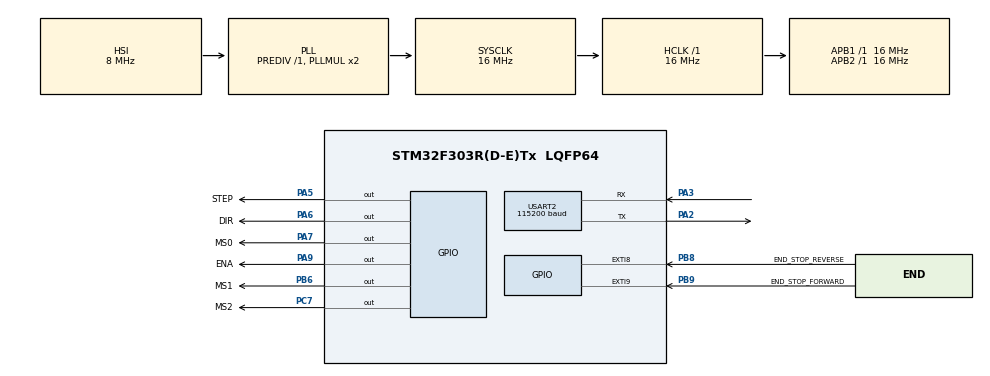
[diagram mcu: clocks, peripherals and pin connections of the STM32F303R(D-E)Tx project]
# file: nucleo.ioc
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Mcu.Family=STM32F3
Mcu.Name=STM32F303R(D-E)Tx
Mcu.Package=LQFP64
NVIC.EXTI9_5_IRQn=true\:0\:0\:false\:false\:true\:true
NVIC.PriorityGroup=NVIC_PRIORITYGROUP_4
NVIC.USART2_IRQn=true\:0\:0\:false\:false\:true\:true
PA2.Mode=Asynchronous
PA2.Signal=USART2_TX
PA3.Mode=Asynchronous
PA3.Signal=USART2_RX
PA5.GPIO_Label=STEP
PA5.Signal=GPIO_Output
PA6.GPIO_Label=DIR
PA6.Signal=GPIO_Output
PA7.GPIO_Label=MS0
PA7.Signal=GPIO_Output
PA9.GPIO_Label=ENA
PA9.Signal=GPIO_Output
PB6.GPIO_Label=MS1
PB6.Signal=GPIO_Output
PB8.GPIO_Label=END_STOP_REVERSE
PB8.GPIO_ModeDefaultEXTI=GPIO_MODE_IT_RISING
PB8.GPIO_PuPd=GPIO_PULLUP
PB8.Signal=GPXTI8
PB9.GPIO_Label=END_STOP_FORWARD
PB9.GPIO_ModeDefaultEXTI=GPIO_MODE_IT_RISING
PB9.GPIO_PuPd=GPIO_PULLUP
PB9.Signal=GPXTI9
PC7.GPIO_Label=MS2
PC7.Signal=GPIO_Output
ProjectManager.HeapSize=0x200
ProjectManager.StackSize=0x400
ProjectManager.TargetToolchain=Makefile
RCC.AHBFreq_Value=16000000
RCC.APB1Freq_Value=16000000
RCC.APB1TimFreq_Value=16000000
RCC.APB2Freq_Value=16000000
RCC.APB2TimFreq_Value=16000000
RCC.CortexFreq_Value=16000000
RCC.HCLKFreq_Value=16000000
RCC.HSE_VALUE=8000000
RCC.HSI_VALUE=8000000
RCC.LSE_VALUE=32768
RCC.SYSCLKFreq_VALUE=16000000
RCC.SYSCLKSourceVirtual=RCC_SYSCLKSOURCE_PLLCLK
RCC.USBFreq_Value=16000000
USART2.BaudRate=115200
USART2.VirtualMode-Asynchronous=VM_ASYNC
USART2.WordLength=WORDLENGTH_8B
board=nucleo

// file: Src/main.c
/**
 ******************************************************************************
 * @file           : main.c
 * @brief          : Main program body
 ******************************************************************************
 ** This notice applies to any and all portions of this file
 * that are not between comment pairs USER CODE BEGIN and
 * USER CODE END. Other portions of this file, whether
 * inserted by the user or by software development tools
 * are owned by their respective copyright owners.
 *
 * COPYRIGHT(c) 2018 STMicroelectronics
 *
 * Redistribution and use in source and binary forms, with or without modification,
 * are permitted provided that the following conditions are met:
 *   1. Redistributions of source code must retain the above copyright notice,
 *      this list of conditions and the following disclaimer.
 *   2. Redistributions in binary form must reproduce the above copyright notice,
 *      this list of conditions and the following disclaimer in the documentation
 *      and/or other materials provided with the distribution.
 *   3. Neither the name of STMicroelectronics nor the names of its contributors
 *      may be used to endorse or promote products derived from this software
 *      without specific prior written permission.
 *
 * THIS SOFTWARE IS PROVIDED BY THE COPYRIGHT HOLDERS AND CONTRIBUTORS "AS IS"
 * AND ANY EXPRESS OR IMPLIED WARRANTIES, INCLUDING, BUT NOT LIMITED TO, THE
 * IMPLIED WARRANTIES OF MERCHANTABILITY AND FITNESS FOR A PARTICULAR PURPOSE ARE
 * DISCLAIMED. IN NO EVENT SHALL THE COPYRIGHT HOLDER OR CONTRIBUTORS BE LIABLE
 * FOR ANY DIRECT, INDIRECT, INCIDENTAL, SPECIAL, EXEMPLARY, OR CONSEQUENTIAL
 * DAMAGES (INCLUDING, BUT NOT LIMITED TO, PROCUREMENT OF SUBSTITUTE GOODS OR
 * SERVICES; LOSS OF USE, DATA, OR PROFITS; OR BUSINESS INTERRUPTION) HOWEVER
 * CAUSED AND ON ANY THEORY OF LIABILITY, WHETHER IN CONTRACT, STRICT LIABILITY,
 * OR TORT (INCLUDING NEGLIGENCE OR OTHERWISE) ARISING IN ANY WAY OUT OF THE USE
 * OF THIS SOFTWARE, EVEN IF ADVISED OF THE POSSIBILITY OF SUCH DAMAGE.
 *
 ******************************************************************************
 */
#include "main.h"
#include "stm32f3xx_hal.h"

/* USER CODE BEGIN Includes */
#include "globals.hpp"
/* USER CODE END Includes */

UART_HandleTypeDef huart2;

/* USER CODE BEGIN PV */
/* Private variables ---------------------------------------------------------*/

/* USER CODE END PV */

void SystemClock_Config(void);
static void MX_GPIO_Init(void);
static void MX_USART2_UART_Init(void);

/* USER CODE BEGIN PFP */
/* Private function prototypes -----------------------------------------------*/

/* USER CODE END PFP */

int main(void)
{

    /* MCU Configuration----------------------------------------------------------*/

    /* Reset of all peripherals, Initializes the Flash interface and the Systick. */
    HAL_Init();

    /* Configure the system clock */
    SystemClock_Config();

    /* Initialize all configured peripherals */
    MX_GPIO_Init();
    MX_USART2_UART_Init();
    /* USER CODE BEGIN 2 */

    Uart uart(&huart2);
    monochromator.uart = &uart;
    monochromator.uart->print("Ahoj\n");
    monochromator.uart->receive_it();

    Motor motor(1.8, 32);
    monochromator.motor = &motor;
    monochromator.end_stop_forward = END_STOP_FORWARD_Pin;
    monochromator.end_stop_reverse = END_STOP_REVERSE_Pin;
    monochromator.motor->dir(DIRECTION_REVERSE);

    monochromator.uart->print("init ok\n");

    /* USER CODE END 2 */

    /* Infinite loop */
    /* USER CODE BEGIN WHILE */
    while (1)
    {
        if (monochromator.uart->get_rx_flag())
        {
            monochromator.uart->print("Mam data: ");
            monochromator.uart->send_byte(monochromator.uart->rx_buffer[0]);
            monochromator.uart->print("\n");
            monochromator.uart->clear_rx_flag();
            monochromator.motor->execute_steps(10000);
        }

        /* USER CODE END WHILE */

    }
} /* main */

void SystemClock_Config(void)
{
    RCC_OscInitTypeDef RCC_OscInitStruct;
    RCC_ClkInitTypeDef RCC_ClkInitStruct;
    RCC_PeriphCLKInitTypeDef PeriphClkInit;

    /**Initializes the CPU, AHB and APB busses clocks
     */
    RCC_OscInitStruct.OscillatorType      = RCC_OSCILLATORTYPE_HSI;
    RCC_OscInitStruct.HSIState            = RCC_HSI_ON;
    RCC_OscInitStruct.HSICalibrationValue = 16;
    RCC_OscInitStruct.PLL.PLLState        = RCC_PLL_ON;
    RCC_OscInitStruct.PLL.PLLSource       = RCC_PLLSOURCE_HSI;
    RCC_OscInitStruct.PLL.PLLMUL          = RCC_PLL_MUL2;
    RCC_OscInitStruct.PLL.PREDIV          = RCC_PREDIV_DIV1;
    if (HAL_RCC_OscConfig(&RCC_OscInitStruct) != HAL_OK)
    {
        _Error_Handler(__FILE__, __LINE__);
    }

    /**Initializes the CPU, AHB and APB busses clocks
     */
    RCC_ClkInitStruct.ClockType = RCC_CLOCKTYPE_HCLK | RCC_CLOCKTYPE_SYSCLK
      | RCC_CLOCKTYPE_PCLK1 | RCC_CLOCKTYPE_PCLK2;
    RCC_ClkInitStruct.SYSCLKSource   = RCC_SYSCLKSOURCE_PLLCLK;
    RCC_ClkInitStruct.AHBCLKDivider  = RCC_SYSCLK_DIV1;
    RCC_ClkInitStruct.APB1CLKDivider = RCC_HCLK_DIV1;
    RCC_ClkInitStruct.APB2CLKDivider = RCC_HCLK_DIV1;

    if (HAL_RCC_ClockConfig(&RCC_ClkInitStruct, FLASH_LATENCY_0) != HAL_OK)
    {
        _Error_Handler(__FILE__, __LINE__);
    }

    PeriphClkInit.PeriphClockSelection = RCC_PERIPHCLK_USART2;
    PeriphClkInit.Usart2ClockSelection = RCC_USART2CLKSOURCE_PCLK1;
    if (HAL_RCCEx_PeriphCLKConfig(&PeriphClkInit) != HAL_OK)
    {
        _Error_Handler(__FILE__, __LINE__);
    }

    /**Configure the Systick interrupt time
     */
    HAL_SYSTICK_Config(HAL_RCC_GetHCLKFreq() / 1000);

    /**Configure the Systick
     */
    HAL_SYSTICK_CLKSourceConfig(SYSTICK_CLKSOURCE_HCLK);

    /* SysTick_IRQn interrupt configuration */
    HAL_NVIC_SetPriority(SysTick_IRQn, 0, 0);
} /* SystemClock_Config */

/* USART2 init function */
static void MX_USART2_UART_Init(void)
{
    huart2.Instance                    = USART2;
    huart2.Init.BaudRate               = 115200;
    huart2.Init.WordLength             = UART_WORDLENGTH_8B;
    huart2.Init.StopBits               = UART_STOPBITS_1;
    huart2.Init.Parity                 = UART_PARITY_NONE;
    huart2.Init.Mode                   = UART_MODE_TX_RX;
    huart2.Init.HwFlowCtl              = UART_HWCONTROL_NONE;
    huart2.Init.OverSampling           = UART_OVERSAMPLING_16;
    huart2.Init.OneBitSampling         = UART_ONE_BIT_SAMPLE_DISABLE;
    huart2.AdvancedInit.AdvFeatureInit = UART_ADVFEATURE_NO_INIT;
    if (HAL_UART_Init(&huart2) != HAL_OK)
    {
        _Error_Handler(__FILE__, __LINE__);
    }
}

/** Configure pins as
 * Analog
 * Input
 * Output
 * EVENT_OUT
 * EXTI
 */
static void MX_GPIO_Init(void)
{
    GPIO_InitTypeDef GPIO_InitStruct;

    /* GPIO Ports Clock Enable */
    __HAL_RCC_GPIOA_CLK_ENABLE();
    __HAL_RCC_GPIOC_CLK_ENABLE();
    __HAL_RCC_GPIOB_CLK_ENABLE();

    /*Configure GPIO pin Output Level */
    HAL_GPIO_WritePin(GPIOA, STEP_Pin | DIR_Pin | MS0_Pin | ENA_Pin, GPIO_PIN_RESET);

    /*Configure GPIO pin Output Level */
    HAL_GPIO_WritePin(MS2_GPIO_Port, MS2_Pin, GPIO_PIN_RESET);

    /*Configure GPIO pin Output Level */
    HAL_GPIO_WritePin(MS1_GPIO_Port, MS1_Pin, GPIO_PIN_RESET);

    /*Configure GPIO pins : STEP_Pin DIR_Pin MS0_Pin ENA_Pin */
    GPIO_InitStruct.Pin   = STEP_Pin | DIR_Pin | MS0_Pin | ENA_Pin;
    GPIO_InitStruct.Mode  = GPIO_MODE_OUTPUT_PP;
    GPIO_InitStruct.Pull  = GPIO_NOPULL;
    GPIO_InitStruct.Speed = GPIO_SPEED_FREQ_LOW;
    HAL_GPIO_Init(GPIOA, &GPIO_InitStruct);

    /*Configure GPIO pin : MS2_Pin */
    GPIO_InitStruct.Pin   = MS2_Pin;
    GPIO_InitStruct.Mode  = GPIO_MODE_OUTPUT_PP;
    GPIO_InitStruct.Pull  = GPIO_NOPULL;
    GPIO_InitStruct.Speed = GPIO_SPEED_FREQ_LOW;
    HAL_GPIO_Init(MS2_GPIO_Port, &GPIO_InitStruct);

    /*Configure GPIO pin : MS1_Pin */
    GPIO_InitStruct.Pin   = MS1_Pin;
    GPIO_InitStruct.Mode  = GPIO_MODE_OUTPUT_PP;
    GPIO_InitStruct.Pull  = GPIO_NOPULL;
    GPIO_InitStruct.Speed = GPIO_SPEED_FREQ_LOW;
    HAL_GPIO_Init(MS1_GPIO_Port, &GPIO_InitStruct);

    /*Configure GPIO pins : END_STOP_REVERSE_Pin END_STOP_FORWARD_Pin */
    GPIO_InitStruct.Pin  = END_STOP_REVERSE_Pin | END_STOP_FORWARD_Pin;
    GPIO_InitStruct.Mode = GPIO_MODE_IT_RISING;
    GPIO_InitStruct.Pull = GPIO_PULLUP;
    HAL_GPIO_Init(GPIOB, &GPIO_InitStruct);

    /* EXTI interrupt init*/
    HAL_NVIC_SetPriority(EXTI9_5_IRQn, 0, 0);
    HAL_NVIC_EnableIRQ(EXTI9_5_IRQn);
} /* MX_GPIO_Init */

void _Error_Handler(char *file, int line)
{
    /* USER CODE BEGIN Error_Handler_Debug */
    /* User can add his own implementation to report the HAL error return state */
    while (1)
    { }
    /* USER CODE END Error_Handler_Debug */
}

#ifdef  USE_FULL_ASSERT

/**
 * @brief  Reports the name of the source file and the source line number
 *         where the assert_param error has occurred.
 * @param  file: pointer to the source file name
 * @param  line: assert_param error line source number
 * @retval None
 */
void assert_failed(uint8_t *file, uint32_t line)
{
    /* USER CODE BEGIN 6 */

    /* User can add his own implementation to report the file name and line number,
     * tex: printf("Wrong parameters value: file %s on line %d\r\n", file, line) */
    /* USER CODE END 6 */
}

#endif /* USE_FULL_ASSERT */

/************************ (C) COPYRIGHT STMicroelectronics *****END OF FILE****/
